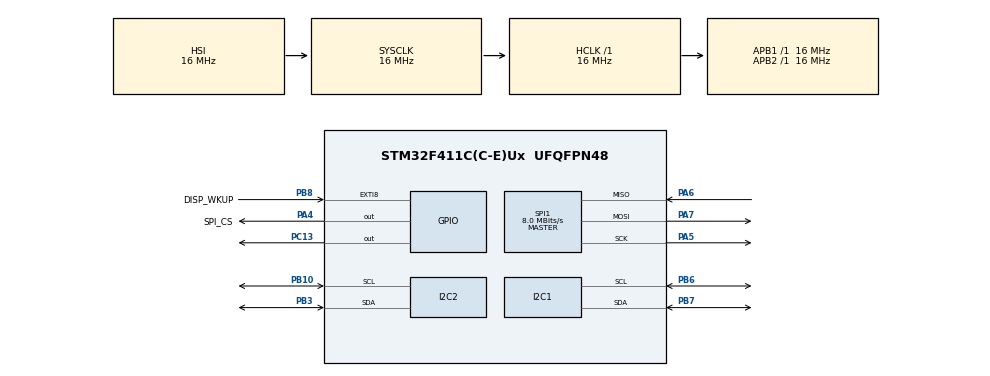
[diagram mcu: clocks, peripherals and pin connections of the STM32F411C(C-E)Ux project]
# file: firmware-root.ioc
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FREERTOS.Tasks01=defaultTask,24,128,StartDefaultTask,Default,NULL,Dynamic,NULL,NULL
Mcu.Family=STM32F4
Mcu.Name=STM32F411C(C-E)Ux
Mcu.Package=UFQFPN48
NVIC.EXTI9_5_IRQn=true\:5\:0\:false\:false\:true\:true\:true\:true\:true
NVIC.PriorityGroup=NVIC_PRIORITYGROUP_4
NVIC.RTC_WKUP_IRQn=true\:5\:0\:false\:false\:true\:true\:true\:true\:true
NVIC.TIM1_UP_TIM10_IRQn=true\:15\:0\:false\:false\:true\:false\:false\:true\:true
NVIC.TimeBase=TIM1_UP_TIM10_IRQn
NVIC.TimeBaseIP=TIM1
PA13.Mode=Serial_Wire
PA13.Signal=SYS_JTMS-SWDIO
PA14.Mode=Serial_Wire
PA14.Signal=SYS_JTCK-SWCLK
PA4.GPIO_Label=SPI_CS
PA4.PinState=GPIO_PIN_SET
PA4.Signal=GPIO_Output
PA5.Mode=Full_Duplex_Master
PA5.Signal=SPI1_SCK
PA6.Mode=Full_Duplex_Master
PA6.Signal=SPI1_MISO
PA7.Mode=Full_Duplex_Master
PA7.Signal=SPI1_MOSI
PB10.Mode=I2C
PB10.Signal=I2C2_SCL
PB3.Mode=I2C
PB3.Signal=I2C2_SDA
PB6.Mode=I2C
PB6.Signal=I2C1_SCL
PB7.Mode=I2C
PB7.Signal=I2C1_SDA
PB8.GPIO_Label=DISP_WKUP
PB8.GPIO_PuPd=GPIO_PULLUP
PB8.Signal=GPXTI8
PC13-ANTI_TAMP.Signal=GPIO_Output
PC14-OSC32_IN.Mode=LSE-External-Oscillator
PC14-OSC32_IN.Signal=RCC_OSC32_IN
PC15-OSC32_OUT.Mode=LSE-External-Oscillator
PC15-OSC32_OUT.Signal=RCC_OSC32_OUT
PH0\ -\ OSC_IN.Mode=HSE-External-Oscillator
PH0\ -\ OSC_IN.Signal=RCC_OSC_IN
PH1\ -\ OSC_OUT.Mode=HSE-External-Oscillator
PH1\ -\ OSC_OUT.Signal=RCC_OSC_OUT
ProjectManager.HeapSize=0x200
ProjectManager.StackSize=0x400
ProjectManager.TargetToolchain=CMake
RCC.AHBFreq_Value=16000000
RCC.APB1Freq_Value=16000000
RCC.APB2Freq_Value=16000000
RCC.CortexFreq_Value=16000000
RCC.HSE_VALUE=25000000
RCC.HSI_VALUE=16000000
RCC.PWR_Regulator_Voltage_Scale=PWR_REGULATOR_VOLTAGE_SCALE3
RCC.RCC_RTC_Clock_Source=RCC_RTCCLKSOURCE_LSE
RCC.SYSCLKFreq_VALUE=16000000
RCC.VCOOutputFreq_Value=192000000
SPI1.CalculateBaudRate=8.0 MBits/s
SPI1.Direction=SPI_DIRECTION_2LINES
SPI1.Mode=SPI_MODE_MASTER
SPI1.VirtualType=VM_MASTER
VP_FREERTOS_VS_CMSIS_V2.Mode=CMSIS_V2
VP_RTC_VS_RTC_Activate.Mode=RTC_Enabled
VP_RTC_VS_RTC_WakeUp_intern.Mode=WakeUp
VP_SYS_VS_tim1.Mode=TIM1
board=custom

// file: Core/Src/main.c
/* USER CODE BEGIN Header */
/**
  ******************************************************************************
  * @file           : main.c
  * @brief          : Main program body
  ******************************************************************************
  * @attention
  *
  * Copyright (c) 2026 STMicroelectronics.
  * All rights reserved.
  *
  * This software is licensed under terms that can be found in the LICENSE file
  * in the root directory of this software component.
  * If no LICENSE file comes with this software, it is provided AS-IS.
  *
  ******************************************************************************
  */
/* USER CODE END Header */
#include "main.h"
#include "cmsis_os.h"

/* USER CODE BEGIN Includes */
#include "sh1106.h"
#include "tasks.h"
#include "tsl2591.h"
#include "ui.h"
#include "power.h"
/* USER CODE END Includes */

I2C_HandleTypeDef hi2c1;
I2C_HandleTypeDef hi2c2;

RTC_HandleTypeDef hrtc;

SPI_HandleTypeDef hspi1;

/* Definitions for defaultTask */
osThreadId_t defaultTaskHandle;
const osThreadAttr_t defaultTask_attributes = {
  .name = "defaultTask",
  .stack_size = 128 * 4,
  .priority = (osPriority_t) osPriorityNormal,
};
/* USER CODE BEGIN PV */
static SH1106_Handle_t display_handle;
static TSL2591_Handle_t tsl_handle;
volatile bool button_wake_requested = false;
/* USER CODE END PV */

void SystemClock_Config(void);
static void MX_GPIO_Init(void);
static void MX_I2C1_Init(void);
static void MX_I2C2_Init(void);
static void MX_RTC_Init(void);
static void MX_SPI1_Init(void);
void StartDefaultTask(void *argument);

int main(void)
{

  /* MCU Configuration--------------------------------------------------------*/

  /* Reset of all peripherals, Initializes the Flash interface and the Systick. */
  HAL_Init();

  /* USER CODE BEGIN Init */
#ifdef DEBUG
  HAL_DBGMCU_EnableDBGStopMode();
#endif
  const SH1106_Config_t display_config = {
    .hi2c                   = &hi2c1,
    // 00111100 << 1 = 01111000 = addr [7:1] + r/w [0]
    .i2c_addr               = (0x3C << 1),
    .contrast               = 0x80, // medium-high contrast
    .multiplex_ratio        = 0x3F, // 64 rows
    .display_offset         = 0x00, // no offset
    .start_line             = 0x40, // start at line 0
    .osc_freq_div_ratio     = 0x50, // POR
    .pump_voltage           = SH1106_PUMP_8_0V, // POR
    .com_pins_config        = SH1106_COM_ALTERNATIVE, // POR
    .mirror                 = SH1106_MIRROR_BOTH // POR
  };

  const TSL2591_Config_t lux_config = {
    .hi2c                   = &hi2c2,
    .i2c_addr               = TSL2591_ADDRESS,
    .gain                   = TSL2591_GAIN_MED,
    .integration_time       = TSL2591_INTEGRATIONTIME_200MS
  };
  /* USER CODE END Init */

  /* Configure the system clock */
  SystemClock_Config();

  /* Initialize all configured peripherals */
  MX_GPIO_Init();
  MX_I2C1_Init();
  MX_I2C2_Init();
  MX_RTC_Init();
  MX_SPI1_Init();
  /* USER CODE BEGIN 2 */
  bool init_ok = true;
  if (SH1106_Init(&display_handle, &display_config) != HAL_OK) init_ok = false;
  if (TSL2591_Init(&tsl_handle, &lux_config) != HAL_OK) init_ok = false;
  HAL_GPIO_WritePin(GPIOC, GPIO_PIN_13, init_ok ? GPIO_PIN_SET : GPIO_PIN_RESET);
  /* USER CODE END 2 */

  /* Init scheduler */
  osKernelInitialize();

  /* Create the thread(s) */
  /* creation of defaultTask */
  defaultTaskHandle = osThreadNew(StartDefaultTask, NULL, &defaultTask_attributes);

  /* USER CODE BEGIN RTOS_THREADS */
  if (!Tasks_Init(&tsl_handle, &display_handle)) Error_Handler();
  /* USER CODE END RTOS_THREADS */

  /* Start scheduler */
  osKernelStart();

  /* We should never get here as control is now taken by the scheduler */

  /* Infinite loop */
  while (1)
  {

  }
}

void SystemClock_Config(void)
{
  RCC_OscInitTypeDef RCC_OscInitStruct = {0};
  RCC_ClkInitTypeDef RCC_ClkInitStruct = {0};

  /** Configure the main internal regulator output voltage
  */
  __HAL_RCC_PWR_CLK_ENABLE();
  __HAL_PWR_VOLTAGESCALING_CONFIG(PWR_REGULATOR_VOLTAGE_SCALE3);

  /** Initializes the RCC Oscillators according to the specified parameters
  * in the RCC_OscInitTypeDef structure.
  */
  RCC_OscInitStruct.OscillatorType = RCC_OSCILLATORTYPE_HSI|RCC_OSCILLATORTYPE_LSE;
  RCC_OscInitStruct.LSEState = RCC_LSE_ON;
  RCC_OscInitStruct.HSIState = RCC_HSI_ON;
  RCC_OscInitStruct.HSICalibrationValue = RCC_HSICALIBRATION_DEFAULT;
  RCC_OscInitStruct.PLL.PLLState = RCC_PLL_NONE;
  if (HAL_RCC_OscConfig(&RCC_OscInitStruct) != HAL_OK)
  {
    Error_Handler();
  }

  /** Initializes the CPU, AHB and APB buses clocks
  */
  RCC_ClkInitStruct.ClockType = RCC_CLOCKTYPE_HCLK|RCC_CLOCKTYPE_SYSCLK
                              |RCC_CLOCKTYPE_PCLK1|RCC_CLOCKTYPE_PCLK2;
  RCC_ClkInitStruct.SYSCLKSource = RCC_SYSCLKSOURCE_HSI;
  RCC_ClkInitStruct.AHBCLKDivider = RCC_SYSCLK_DIV1;
  RCC_ClkInitStruct.APB1CLKDivider = RCC_HCLK_DIV1;
  RCC_ClkInitStruct.APB2CLKDivider = RCC_HCLK_DIV1;

  if (HAL_RCC_ClockConfig(&RCC_ClkInitStruct, FLASH_LATENCY_0) != HAL_OK)
  {
    Error_Handler();
  }
}

static void MX_I2C1_Init(void)
{

  hi2c1.Instance = I2C1;
  hi2c1.Init.ClockSpeed = 100000;
  hi2c1.Init.DutyCycle = I2C_DUTYCYCLE_2;
  hi2c1.Init.OwnAddress1 = 0;
  hi2c1.Init.AddressingMode = I2C_ADDRESSINGMODE_7BIT;
  hi2c1.Init.DualAddressMode = I2C_DUALADDRESS_DISABLE;
  hi2c1.Init.OwnAddress2 = 0;
  hi2c1.Init.GeneralCallMode = I2C_GENERALCALL_DISABLE;
  hi2c1.Init.NoStretchMode = I2C_NOSTRETCH_DISABLE;
  if (HAL_I2C_Init(&hi2c1) != HAL_OK)
  {
    Error_Handler();
  }

}

static void MX_I2C2_Init(void)
{

  hi2c2.Instance = I2C2;
  hi2c2.Init.ClockSpeed = 100000;
  hi2c2.Init.DutyCycle = I2C_DUTYCYCLE_2;
  hi2c2.Init.OwnAddress1 = 0;
  hi2c2.Init.AddressingMode = I2C_ADDRESSINGMODE_7BIT;
  hi2c2.Init.DualAddressMode = I2C_DUALADDRESS_DISABLE;
  hi2c2.Init.OwnAddress2 = 0;
  hi2c2.Init.GeneralCallMode = I2C_GENERALCALL_DISABLE;
  hi2c2.Init.NoStretchMode = I2C_NOSTRETCH_DISABLE;
  if (HAL_I2C_Init(&hi2c2) != HAL_OK)
  {
    Error_Handler();
  }

}

static void MX_RTC_Init(void)
{

  RTC_TimeTypeDef sTime = {0};
  RTC_DateTypeDef sDate = {0};

  /** Initialize RTC Only
  */
  hrtc.Instance = RTC;
  hrtc.Init.HourFormat = RTC_HOURFORMAT_24;
  hrtc.Init.AsynchPrediv = 127;
  hrtc.Init.SynchPrediv = 255;
  hrtc.Init.OutPut = RTC_OUTPUT_DISABLE;
  hrtc.Init.OutPutPolarity = RTC_OUTPUT_POLARITY_HIGH;
  hrtc.Init.OutPutType = RTC_OUTPUT_TYPE_OPENDRAIN;
  if (HAL_RTC_Init(&hrtc) != HAL_OK)
  {
    Error_Handler();
  }

  /** Initialize RTC and set the Time and Date
  */
  sTime.Hours = 0x0;
  sTime.Minutes = 0x0;
  sTime.Seconds = 0x0;
  sTime.DayLightSaving = RTC_DAYLIGHTSAVING_NONE;
  sTime.StoreOperation = RTC_STOREOPERATION_RESET;
  if (HAL_RTC_SetTime(&hrtc, &sTime, RTC_FORMAT_BCD) != HAL_OK)
  {
    Error_Handler();
  }
  sDate.WeekDay = RTC_WEEKDAY_MONDAY;
  sDate.Month = RTC_MONTH_JANUARY;
  sDate.Date = 0x1;
  sDate.Year = 0x0;

  if (HAL_RTC_SetDate(&hrtc, &sDate, RTC_FORMAT_BCD) != HAL_OK)
  {
    Error_Handler();
  }

  /** Enable the WakeUp
  */
  if (HAL_RTCEx_SetWakeUpTimer_IT(&hrtc, 0, RTC_WAKEUPCLOCK_RTCCLK_DIV16) != HAL_OK)
  {
    Error_Handler();
  }

}

static void MX_SPI1_Init(void)
{

  /* SPI1 parameter configuration*/
  hspi1.Instance = SPI1;
  hspi1.Init.Mode = SPI_MODE_MASTER;
  hspi1.Init.Direction = SPI_DIRECTION_2LINES;
  hspi1.Init.DataSize = SPI_DATASIZE_8BIT;
  hspi1.Init.CLKPolarity = SPI_POLARITY_LOW;
  hspi1.Init.CLKPhase = SPI_PHASE_1EDGE;
  hspi1.Init.NSS = SPI_NSS_SOFT;
  hspi1.Init.BaudRatePrescaler = SPI_BAUDRATEPRESCALER_2;
  hspi1.Init.FirstBit = SPI_FIRSTBIT_MSB;
  hspi1.Init.TIMode = SPI_TIMODE_DISABLE;
  hspi1.Init.CRCCalculation = SPI_CRCCALCULATION_DISABLE;
  hspi1.Init.CRCPolynomial = 10;
  if (HAL_SPI_Init(&hspi1) != HAL_OK)
  {
    Error_Handler();
  }

}

static void MX_GPIO_Init(void)
{
  GPIO_InitTypeDef GPIO_InitStruct = {0};

  /* GPIO Ports Clock Enable */
  __HAL_RCC_GPIOC_CLK_ENABLE();
  __HAL_RCC_GPIOH_CLK_ENABLE();
  __HAL_RCC_GPIOA_CLK_ENABLE();
  __HAL_RCC_GPIOB_CLK_ENABLE();

  /*Configure GPIO pin Output Level */
  HAL_GPIO_WritePin(GPIOC, GPIO_PIN_13, GPIO_PIN_RESET);

  /*Configure GPIO pin Output Level */
  HAL_GPIO_WritePin(SPI_CS_GPIO_Port, SPI_CS_Pin, GPIO_PIN_SET);

  /*Configure GPIO pin : PC13 */
  GPIO_InitStruct.Pin = GPIO_PIN_13;
  GPIO_InitStruct.Mode = GPIO_MODE_OUTPUT_PP;
  GPIO_InitStruct.Pull = GPIO_NOPULL;
  GPIO_InitStruct.Speed = GPIO_SPEED_FREQ_LOW;
  HAL_GPIO_Init(GPIOC, &GPIO_InitStruct);

  /*Configure GPIO pin : SPI_CS_Pin */
  GPIO_InitStruct.Pin = SPI_CS_Pin;
  GPIO_InitStruct.Mode = GPIO_MODE_OUTPUT_PP;
  GPIO_InitStruct.Pull = GPIO_NOPULL;
  GPIO_InitStruct.Speed = GPIO_SPEED_FREQ_LOW;
  HAL_GPIO_Init(SPI_CS_GPIO_Port, &GPIO_InitStruct);

  /*Configure GPIO pin : DISP_WKUP_Pin */
  GPIO_InitStruct.Pin = DISP_WKUP_Pin;
  GPIO_InitStruct.Mode = GPIO_MODE_IT_RISING;
  GPIO_InitStruct.Pull = GPIO_PULLUP;
  HAL_GPIO_Init(DISP_WKUP_GPIO_Port, &GPIO_InitStruct);

  /* EXTI interrupt init*/
  HAL_NVIC_SetPriority(EXTI9_5_IRQn, 5, 0);
  HAL_NVIC_EnableIRQ(EXTI9_5_IRQn);

}

/* USER CODE BEGIN 4 */
void HAL_RTCEx_WakeUpTimerEventCallback(RTC_HandleTypeDef *hrtc)
{

}

void HAL_GPIO_EXTI_Callback(uint16_t GPIO_Pin)
{
  if (GPIO_Pin == DISP_WKUP_Pin) button_wake_requested = true;
}
/* USER CODE END 4 */

void StartDefaultTask(void *argument)
{
  /* USER CODE BEGIN 5 */
  for(;;)
  {
    if (button_wake_requested)
    {
        button_wake_requested = false;

        SH1106_Wakeup(&display_handle);
        xTaskNotifyGive(ui_task_handle);
        xEventGroupWaitBits(xSyncEventGroup,
                            FLAG_UI_DONE,
                            pdTRUE,
                            pdTRUE,
                            portMAX_DELAY);

        vTaskDelay(pdMS_TO_TICKS(10000));

        SH1106_Sleep(&display_handle);
    }
    else
    {
        xSemaphoreTake(xI2C2Mutex, portMAX_DELAY);
        TSL2591_Enable(&tsl_handle);
        xSemaphoreGive(xI2C2Mutex);

        xTaskNotifyGive(tsl2591_task_handle);

        xEventGroupWaitBits(xSyncEventGroup,
                            FLAG_TSL_DONE,
                            pdTRUE,
                            pdTRUE,
                            portMAX_DELAY);

        // TODO LoRa Transmit

        xSemaphoreTake(xI2C2Mutex, portMAX_DELAY);
        TSL2591_Disable(&tsl_handle);
        xSemaphoreGive(xI2C2Mutex);
    }

    /* The button ISR may set button_wake_requested after the check at the
     * top of the loop. Power_Enter_Stop_Mode checks it again with IRQs
     * disabled right before the WFI, so a press can't be lost. */
    //Power_Enter_Stop_Mode(300, &button_wake_requested);
    vTaskDelay(pdMS_TO_TICKS(1000));
  }
  /* USER CODE END 5 */
}

void HAL_TIM_PeriodElapsedCallback(TIM_HandleTypeDef *htim)
{
  if (htim->Instance == TIM1)
  {
    HAL_IncTick();
  }
}

void Error_Handler(void)
{
  /* USER CODE BEGIN Error_Handler_Debug */
  /* User can add his own implementation to report the HAL error return state */
  __disable_irq();
  __HAL_RCC_GPIOC_CLK_ENABLE();
  GPIO_InitTypeDef led = { .Pin = GPIO_PIN_13, .Mode = GPIO_MODE_OUTPUT_PP };
  HAL_GPIO_Init(GPIOC, &led);
  while (1)
  {
    HAL_GPIO_TogglePin(GPIOC, GPIO_PIN_13);
    for (volatile uint32_t i = 0; i < 400000; i++);
  }
  /* USER CODE END Error_Handler_Debug */
}
